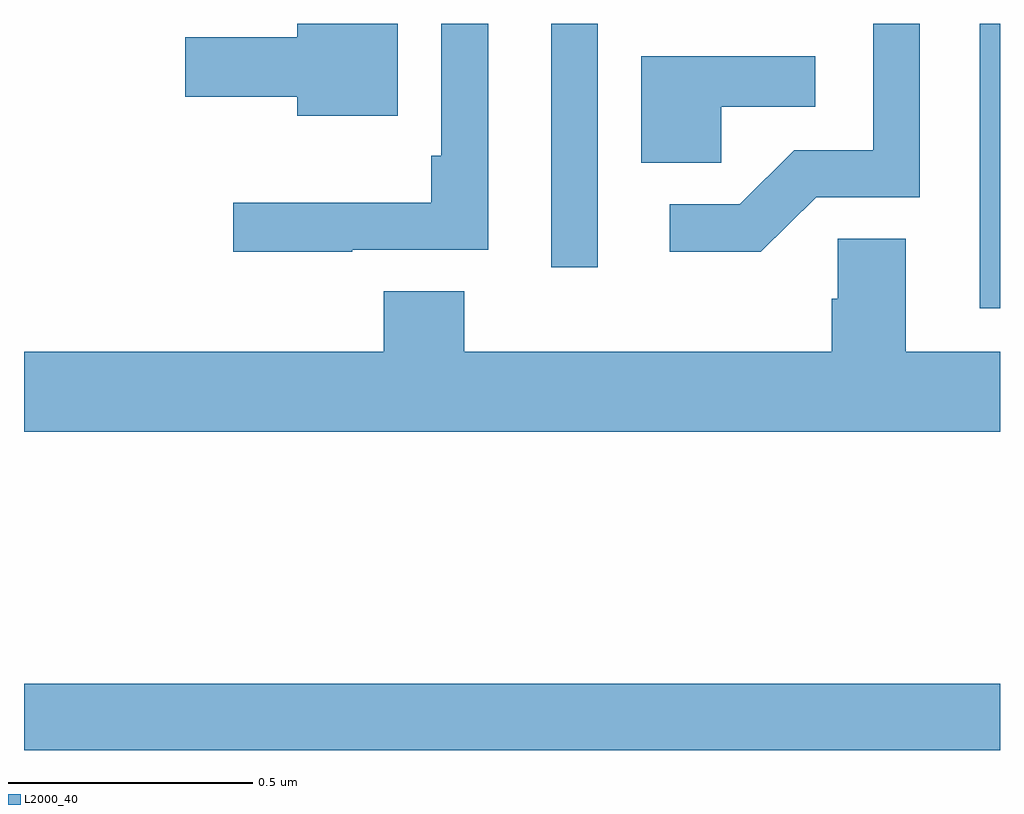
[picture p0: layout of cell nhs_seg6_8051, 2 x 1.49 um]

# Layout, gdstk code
import gdstk
lib = gdstk.Library(unit=1e-6, precision=1e-09)
def R(c, l, rs):  # rectangles x0, y0, x1, y1
    for r in rs: c.add(gdstk.rectangle(r[:2], r[2:], *l))
def P(c, l, *ps):  # polygons
    for p in ps: c.add(gdstk.Polygon(p, *l))
L2000_40 = (2000, 40)

nhs_seg6_8051 = lib.new_cell('nhs_seg6_8051')
R(nhs_seg6_8051, L2000_40, [(216,952.012,218,952.148), (217.959,952.917,218,953.5), (217.08,953.001,217.176,953.5)])
P(nhs_seg6_8051, L2000_40, [(217.623,953.145),(217.836,953.145),(217.836,953.5),(217.74,953.5),(217.74,953.241),(217.578,953.241),(217.467,953.13),(217.323,953.13),(217.323,953.033),(217.51,953.033)],
  [(216.673,953.037),(216.951,953.037),(216.951,953.5),(216.855,953.5),(216.855,953.23),(216.835,953.23),(216.835,953.134),(216.429,953.134),(216.429,953.033),(216.673,953.033)],
  [(216.766,953.5),(216.56,953.5),(216.56,953.473),(216.33,953.473),(216.33,953.351),(216.56,953.351),(216.56,953.312),(216.766,953.312)],
  [(217.429,953.33),(217.621,953.33),(217.621,953.434),(217.265,953.434),(217.265,953.216),(217.429,953.216)],
  [(218,952.828),(217.807,952.828),(217.807,953.06),(217.668,953.06),(217.668,952.937),(217.655,952.937),(217.655,952.828),(216.902,952.828),(216.902,952.952),(216.737,952.952),(216.737,952.828),(216,952.828),(216,952.664),(218,952.664)])

lib.write_gds('nhs_seg6_8051.gds')
